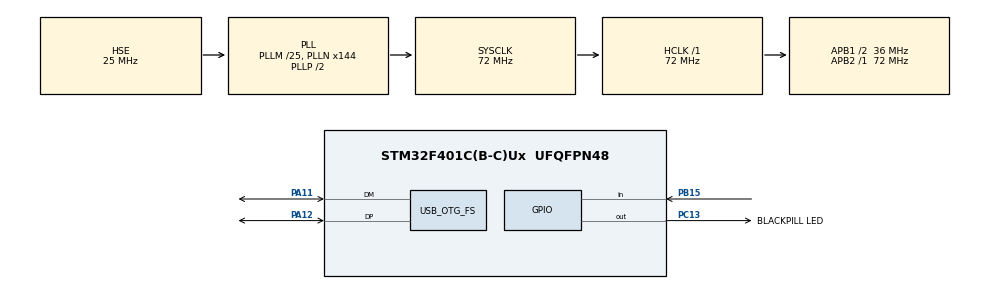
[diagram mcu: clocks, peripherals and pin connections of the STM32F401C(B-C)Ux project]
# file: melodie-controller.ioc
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Mcu.Family=STM32F4
Mcu.Name=STM32F401C(B-C)Ux
Mcu.Package=UFQFPN48
NVIC.OTG_FS_IRQn=true\:0\:0\:false\:false\:true\:false\:true
NVIC.PriorityGroup=NVIC_PRIORITYGROUP_4
PA11.Mode=Device_Only
PA11.Signal=USB_OTG_FS_DM
PA12.Mode=Device_Only
PA12.Signal=USB_OTG_FS_DP
PB15.GPIO_PuPd=GPIO_PULLDOWN
PB15.Signal=GPIO_Input
PC13-ANTI_TAMP.GPIO_Label=BLACKPILL LED
PC13-ANTI_TAMP.GPIO_ModeDefaultOutputPP=GPIO_MODE_OUTPUT_PP
PC13-ANTI_TAMP.GPIO_PuPd=GPIO_NOPULL
PC13-ANTI_TAMP.PinState=GPIO_PIN_RESET
PC13-ANTI_TAMP.Signal=GPIO_Output
PH0\ -\ OSC_IN.Mode=HSE-External-Oscillator
PH0\ -\ OSC_IN.Signal=RCC_OSC_IN
PH1\ -\ OSC_OUT.Mode=HSE-External-Oscillator
PH1\ -\ OSC_OUT.Signal=RCC_OSC_OUT
ProjectManager.HeapSize=0x200
ProjectManager.StackSize=0x400
ProjectManager.TargetToolchain=Other Toolchains (GPDSC)
RCC.48MHZClocksFreq_Value=48000000
RCC.AHBFreq_Value=72000000
RCC.APB1CLKDivider=RCC_HCLK_DIV2
RCC.APB1Freq_Value=36000000
RCC.APB1TimFreq_Value=72000000
RCC.APB2Freq_Value=72000000
RCC.APB2TimFreq_Value=72000000
RCC.CortexFreq_Value=72000000
RCC.HCLKFreq_Value=72000000
RCC.HSE_VALUE=25000000
RCC.HSI_VALUE=16000000
RCC.LSE_VALUE=32768
RCC.PLLM=25
RCC.PLLN=144
RCC.PLLQ=3
RCC.SYSCLKFreq_VALUE=72000000
RCC.SYSCLKSource=RCC_SYSCLKSOURCE_PLLCLK
RCC.VCOOutputFreq_Value=144000000
TIM11.Prescaler=8000 - 1
USB_DEVICE.CLASS_NAME_FS=HID
USB_DEVICE.VirtualMode=Hid
USB_DEVICE.VirtualModeFS=Hid_FS
USB_OTG_FS.VirtualMode=Device_Only
VP_TIM11_VS_ClockSourceINT.Mode=Enable_Timer
VP_USB_DEVICE_VS_USB_DEVICE_HID_FS.Mode=HID_FS
board=custom

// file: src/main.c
/* USER CODE BEGIN Header */
/**
  ******************************************************************************
  * @file           : main.c
  * @brief          : Main program body
  ******************************************************************************
  * @attention
  *
  * <h2><center>&copy; Copyright (c) 2021 STMicroelectronics.
  * All rights reserved.</center></h2>
  *
  * This software component is licensed by ST under BSD 3-Clause license,
  * the "License"; You may not use this file except in compliance with the
  * License. You may obtain a copy of the License at:
  *                        opensource.org/licenses/BSD-3-Clause
  *
  ******************************************************************************
  */
/* USER CODE END Header */
#include "main.h"
#include "tim.h"
#include "usb_device.h"
#include "gpio.h"

/* USER CODE BEGIN Includes */
#include "usbd_hid.h"
#include "stdbool.h"
/* USER CODE END Includes */

void SystemClock_Config(void);

/* USER CODE BEGIN 0 */

struct hBV20_Pulse {
  uint32_t last_pulse;
  uint8_t pulse_count;
} hBV20;

void BV20_Init() {
  hBV20.last_pulse = 0;
  hBV20.pulse_count = 0;
}

void BV20_Reset(struct hBV20_Pulse *hBV20) {
  hBV20->last_pulse = 0;
  hBV20->pulse_count = 0;
}

bool BV20_PollState(struct hBV20_Pulse *hBV20, uint32_t timeout) {
    static bool was_down = false;

    volatile uint32_t current_time = HAL_GetTick();

    volatile GPIO_PinState gpio_state = HAL_GPIO_ReadPin(GPIOB, GPIO_PIN_15);

    if (( gpio_state == GPIO_PIN_RESET ) && !was_down) {
      hBV20->last_pulse = current_time;
      (hBV20->pulse_count)++;

      was_down = true;

      return false;
    } else if ( gpio_state == GPIO_PIN_SET && was_down) {
      was_down = false;

      return false;
    } else if (( current_time - (hBV20->last_pulse) > timeout ) && (hBV20->last_pulse)) {
      was_down = false;

      return true;
    }

    return false;
}

// struct Coinswitch {
  // uint16_t last_pulse;
  // uint8_t pulse_count;
// } coinswitch;

// void Coinswitch_Init() {
// }

/* USER CODE END 0 */

int main(void)
{

  /* MCU Configuration--------------------------------------------------------*/

  /* Reset of all peripherals, Initializes the Flash interface and the Systick. */
  HAL_Init();

  /* Configure the system clock */
  SystemClock_Config();

  /* Initialize all configured peripherals */
  MX_GPIO_Init();
  MX_TIM11_Init();
  MX_USB_DEVICE_Init();
  /* USER CODE BEGIN 2 */

  BV20_Init();

  uint8_t HID_buffer[8] = {0};
  extern USBD_HandleTypeDef hUsbDeviceFS;
  HID_buffer[0] = 0x01;

  struct keyboardHID_t {
    uint8_t id;
    uint8_t modifiers;
    uint8_t key1;
    uint8_t key2;
    uint8_t key3;
  };

  struct keyboardHID_t keyboardHID;

  keyboardHID.id = 1;
  keyboardHID.modifiers = 0;
  keyboardHID.key1 = 0;
  keyboardHID.key2 = 0;
  keyboardHID.key3 = 0;

  HAL_GPIO_WritePin(GPIOC, GPIO_PIN_13, GPIO_PIN_SET);

  /* USER CODE END 2 */

  /* Infinite loop */
  while (1)
  {

    /* USER CODE BEGIN 3 */

    if (BV20_PollState(&hBV20, 200)) {
      uint8_t i = 0;

      for (i = 0; i < hBV20.pulse_count; i++) {
        HAL_GPIO_WritePin(GPIOC, GPIO_PIN_13, GPIO_PIN_RESET);

        keyboardHID.key1 = 0x0E;

        USBD_HID_SendReport(&hUsbDeviceFS, &keyboardHID, sizeof(struct keyboardHID_t));

        HAL_Delay(30);

        keyboardHID.key1 = 0;

        USBD_HID_SendReport(&hUsbDeviceFS, &keyboardHID, sizeof(struct keyboardHID_t));

        HAL_GPIO_WritePin(GPIOC, GPIO_PIN_13, GPIO_PIN_SET);

        HAL_Delay(50);
      }

      BV20_Reset(&hBV20);
    }
  }
  /* USER CODE END 3 */
}

void SystemClock_Config(void)
{
  RCC_OscInitTypeDef RCC_OscInitStruct = {0};
  RCC_ClkInitTypeDef RCC_ClkInitStruct = {0};

  /** Configure the main internal regulator output voltage
  */
  __HAL_RCC_PWR_CLK_ENABLE();
  __HAL_PWR_VOLTAGESCALING_CONFIG(PWR_REGULATOR_VOLTAGE_SCALE2);
  /** Initializes the RCC Oscillators according to the specified parameters
  * in the RCC_OscInitTypeDef structure.
  */
  RCC_OscInitStruct.OscillatorType = RCC_OSCILLATORTYPE_HSE;
  RCC_OscInitStruct.HSEState = RCC_HSE_ON;
  RCC_OscInitStruct.PLL.PLLState = RCC_PLL_ON;
  RCC_OscInitStruct.PLL.PLLSource = RCC_PLLSOURCE_HSE;
  RCC_OscInitStruct.PLL.PLLM = 25;
  RCC_OscInitStruct.PLL.PLLN = 144;
  RCC_OscInitStruct.PLL.PLLP = RCC_PLLP_DIV2;
  RCC_OscInitStruct.PLL.PLLQ = 3;
  if (HAL_RCC_OscConfig(&RCC_OscInitStruct) != HAL_OK)
  {
    Error_Handler();
  }
  /** Initializes the CPU, AHB and APB buses clocks
  */
  RCC_ClkInitStruct.ClockType = RCC_CLOCKTYPE_HCLK|RCC_CLOCKTYPE_SYSCLK
                              |RCC_CLOCKTYPE_PCLK1|RCC_CLOCKTYPE_PCLK2;
  RCC_ClkInitStruct.SYSCLKSource = RCC_SYSCLKSOURCE_PLLCLK;
  RCC_ClkInitStruct.AHBCLKDivider = RCC_SYSCLK_DIV1;
  RCC_ClkInitStruct.APB1CLKDivider = RCC_HCLK_DIV2;
  RCC_ClkInitStruct.APB2CLKDivider = RCC_HCLK_DIV1;

  if (HAL_RCC_ClockConfig(&RCC_ClkInitStruct, FLASH_LATENCY_2) != HAL_OK)
  {
    Error_Handler();
  }
}

void Error_Handler(void)
{
  __disable_irq();
  while (1)
  {
  }
}

/************************ (C) COPYRIGHT STMicroelectronics *****END OF FILE****/
